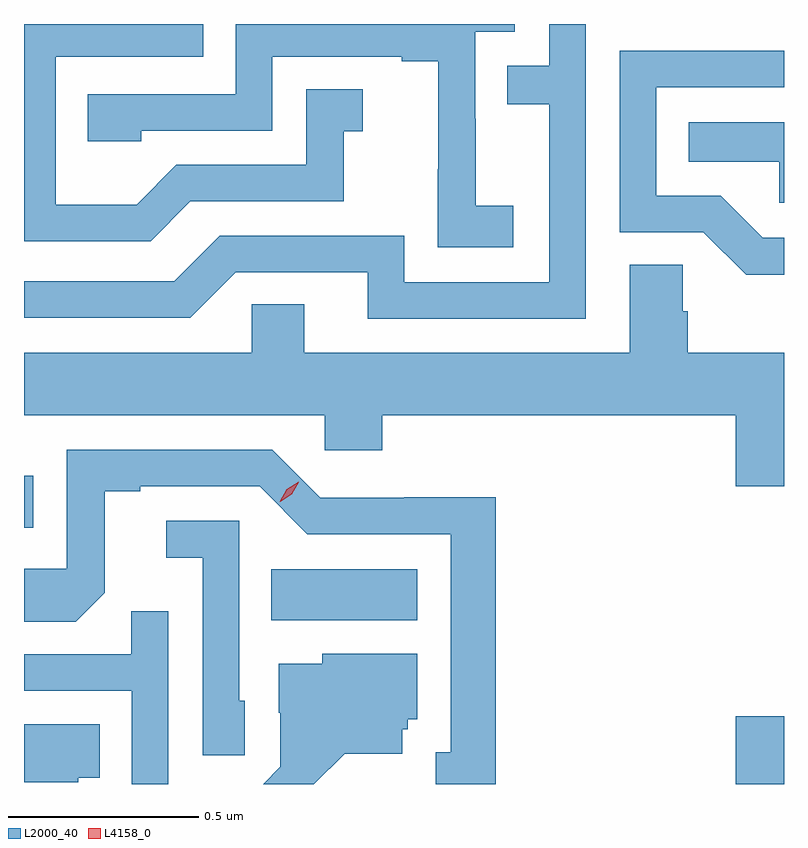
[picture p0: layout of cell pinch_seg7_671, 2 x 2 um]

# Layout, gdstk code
import gdstk
lib = gdstk.Library(unit=1e-6, precision=1e-09)
def R(c, l, rs):  # rectangles x0, y0, x1, y1
    for r in rs: c.add(gdstk.rectangle(r[:2], r[2:], *l))
def P(c, l, *ps):  # polygons
    for p in ps: c.add(gdstk.Polygon(p, *l))
L2000_40 = (2000, 40)
L4158_0 = (4158, 0)

pinch_seg7_671 = lib.new_cell('pinch_seg7_671')
R(pinch_seg7_671, L2000_40, [(141.032,1012.965,141.159,1013.143), (139.81,1013.396,140.194,1013.53), (139.159,1013.64,139.183,1013.776)])
P(pinch_seg7_671, L2000_40, [(140.446,1014.487),(140.348,1014.487),(140.348,1014.716),(140.346,1014.716),(140.346,1014.945),(140.451,1014.945),(140.451,1014.965),(139.716,1014.965),(139.716,1014.78),(139.327,1014.78),(139.327,1014.657),(139.467,1014.657),(139.467,1014.684),(139.812,1014.684),(139.812,1014.879),(140.153,1014.879),(140.153,1014.867),(140.249,1014.867),(140.249,1014.583),(140.248,1014.583),(140.248,1014.377),(140.446,1014.377)],
  [(139.597,1014.498),(140.001,1014.498),(140.001,1014.683),(140.05,1014.683),(140.05,1014.793),(139.902,1014.793),(139.902,1014.594),(139.56,1014.594),(139.456,1014.49),(139.242,1014.49),(139.242,1014.879),(139.631,1014.879),(139.631,1014.965),(139.159,1014.965),(139.159,1014.393),(139.492,1014.393)],
  [(140.637,1014.965),(140.541,1014.965),(140.541,1014.855),(140.431,1014.855),(140.431,1014.754),(140.541,1014.754),(140.541,1014.285),(140.16,1014.285),(140.16,1014.408),(139.674,1014.408),(139.554,1014.288),(139.159,1014.288),(139.159,1014.192),(139.596,1014.192),(139.716,1014.312),(140.063,1014.312),(140.063,1014.189),(140.637,1014.189)],
  [(141.159,1014.402),(141.103,1014.402),(140.992,1014.513),(140.823,1014.513),(140.823,1014.798),(141.159,1014.798),(141.159,1014.894),(140.727,1014.894),(140.727,1014.417),(140.946,1014.417),(141.059,1014.305),(141.159,1014.305)],
  [(141.159,1014.706),(140.908,1014.706),(140.908,1014.602),(141.147,1014.602),(141.147,1014.494),(141.159,1014.494)],
  [(141.159,1014.1),(140.906,1014.1),(140.906,1014.209),(140.892,1014.209),(140.892,1014.332),(140.753,1014.332),(140.753,1014.1),(139.897,1014.1),(139.897,1014.227),(139.758,1014.227),(139.758,1014.1),(139.159,1014.1),(139.159,1013.936),(139.95,1013.936),(139.95,1013.843),(140.102,1013.843),(140.102,1013.936),(141.032,1013.936),(141.032,1013.748),(141.159,1013.748)],
  [(140.401,1013.72),(140.16,1013.72),(140.16,1013.718),(139.938,1013.718),(139.812,1013.844),(139.272,1013.844),(139.272,1013.532),(139.159,1013.532),(139.159,1013.392),(139.295,1013.392),(139.371,1013.468),(139.371,1013.736),(139.465,1013.736),(139.465,1013.748),(139.779,1013.748),(139.905,1013.622),(140.282,1013.622),(140.282,1013.049),(140.243,1013.049),(140.243,1012.965),(140.401,1012.965)],
  [(139.74,1013.184),(139.725,1013.184),(139.725,1013.658),(139.533,1013.658),(139.533,1013.561),(139.629,1013.561),(139.629,1013.041),(139.74,1013.041)],
  [(139.539,1013.42),(139.441,1013.42),(139.441,1013.307),(139.159,1013.307),(139.159,1013.211),(139.443,1013.211),(139.443,1012.965),(139.539,1012.965)],
  [(140.003,1013.045),(140.155,1013.045),(140.155,1013.109),(140.169,1013.109),(140.169,1013.136),(140.194,1013.136),(140.194,1013.308),(139.944,1013.308),(139.944,1013.281),(139.829,1013.281),(139.829,1013.152),(139.833,1013.152),(139.833,1013.01),(139.788,1012.965),(139.922,1012.965)],
  [(139.302,1012.982),(139.358,1012.982),(139.358,1013.122),(139.159,1013.122),(139.159,1012.97),(139.302,1012.97)])
P(pinch_seg7_671, L4158_0, [(139.832,1013.708),(139.832,1013.708),(139.85,1013.741),(139.882,1013.76),(139.882,1013.76),(139.882,1013.759),(139.864,1013.727),(139.833,1013.708)])

lib.write_gds('pinch_seg7_671.gds')
